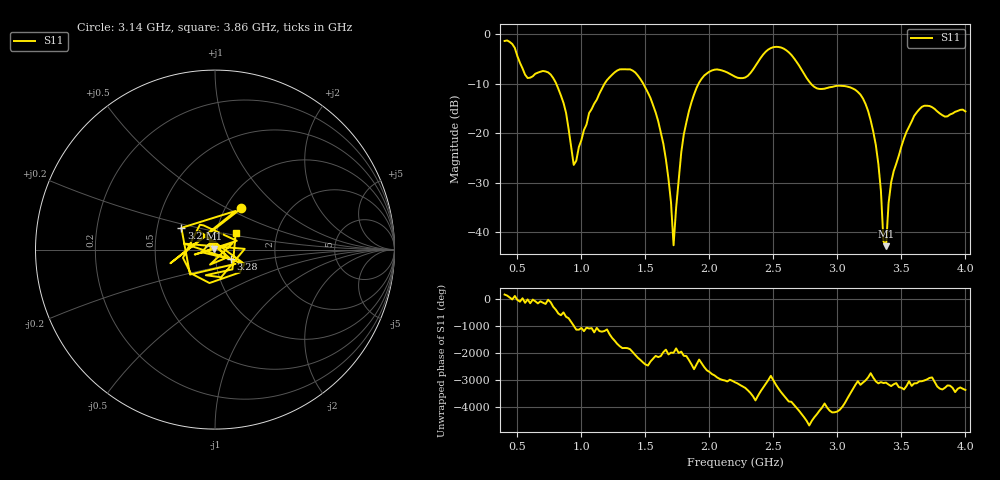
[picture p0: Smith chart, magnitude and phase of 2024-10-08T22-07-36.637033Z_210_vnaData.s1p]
! Created with skrf (http://scikit-rf.org).
# Hz S RI R 50.0
!freq ReS11 ImS11
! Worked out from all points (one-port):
!   181 points, 400 MHz to 4 GHz, reference 50 ohm
!   lowest |S11| = -42.8 dB at 3.38 GHz (marker M1), VSWR 1.01, Z = 49.4 + j0.438 ohm
!   |S11| at or under -10 dB: 802.8 MHz to 1.182 GHz (379 MHz wide, 38.2 % of centre); 1.482 GHz to 1.916 GHz (433.9 MHz wide, 25.5 % of centre); 2.792 GHz to end of sweep
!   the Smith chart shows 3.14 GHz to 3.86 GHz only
!   S11 on the Smith chart (normalised r, x): 3.14 GHz: 1.19, +0.59; 3.2 GHz: 0.67, +0.17; 3.28 GHz: 1.19, -0.13; 3.86 GHz: 1.24, +0.23
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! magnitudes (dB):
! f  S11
! 400 MHz  -1.4
! 860 MHz  -13.9
! 940 MHz  -26.4
! 1.06 GHz  -16.0
! 1.3 GHz  -7.1
! 1.44 GHz  -8.4
! 1.58 GHz  -15.8
! 1.66 GHz  -25.3
! 1.72 GHz  -42.6
! 1.76 GHz  -29.4
! 1.8 GHz  -20.2
! 1.92 GHz  -9.8
! 2.2 GHz  -8.6
! 2.5 GHz  -2.7
! 2.66 GHz  -4.9
! 2.84 GHz  -11.0
! 3.1 GHz  -10.8
! 3.14 GHz  -11.3
! 3.2 GHz  -13.0
! 3.28 GHz  -19.7
! 3.34 GHz  -31.6
! 3.36 GHz  -41.8
! 3.38 GHz  -42.8
! 3.42 GHz  -29.9
! 3.56 GHz  -18.7
! 3.68 GHz  -14.5
! 3.86 GHz  -16.6
! 4 GHz  -15.6
